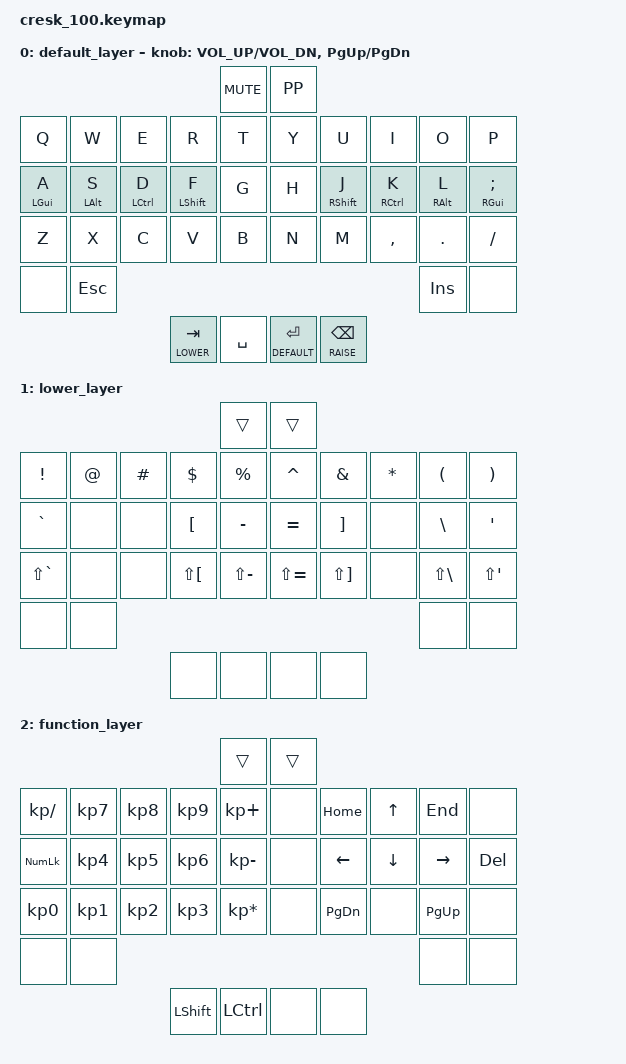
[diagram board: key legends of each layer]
/*
 * Copyright (c) 2022 The ZMK Contributors
 *
 * SPDX-License-Identifier: MIT
 */

#include <behaviors.dtsi>
#include <dt-bindings/zmk/keys.h>
#include <dt-bindings/zmk/mouse.h>

#define DEFAULT 0
#define LOWER   1
#define RAISE   2

&mt {
    tapping-term-ms = <200>;
	flavor = "tap-preferred";
};

&lt {
    tapping-term-ms = <200>;
};

/ {
	behaviors {
		mouse_scroll_encoder: mouse_scroll_encoder {
			compatible = "zmk,behavior-sensor-rotate";
			#sensor-binding-cells = <0>;
			bindings = <&msc MOVE_DOWN>, <&msc MOVE_UP>;
		};
	};

	keymap {
		compatible = "zmk,keymap";

		default_layer {
			bindings = <
                                        			   &kp C_MUTE    &kp K_PP
&kp Q        &kp W        &kp E         &kp R          &kp T         &kp Y        &kp U          &kp I         &kp O           &kp P
&mt LGUI A   &mt LALT S   &mt LCTRL D   &mt LSHIFT F   &kp G         &kp H        &mt RSHIFT J   &mt RCTRL K   &mt RALT L      &mt RGUI SEMI
&kp Z        &kp X        &kp C         &kp V          &kp B         &kp N        &kp M          &kp COMMA     &kp DOT         &kp FSLH
&none        &kp ESC                                                                                           &kp INS         &none
                                        &lt LOWER TAB  &kp SPACE     &lt DEFAULT ENTER  &lt RAISE BSPC
			>;

			sensor-bindings = <&inc_dec_kp C_VOL_UP C_VOL_DN &inc_dec_kp PG_UP PG_DN>;
		};

		lower_layer {
			bindings = <
                                                  &trans           &trans
&kp EXCL       &kp AT    &kp HASH   &kp DLLR      &kp PRCNT        &kp CARET      &kp AMPS      &kp STAR   &kp LPAR      &kp RPAR
&kp GRAVE      &none     &none      &kp LBKT      &kp MINUS        &kp EQUAL      &kp RBKT      &none      &kp BSLH      &kp SQT
&kp LS(GRAVE)  &none     &none      &kp LS(LBKT)  &kp LS(MINUS)    &kp LS(EQUAL)  &kp LS(RBKT)  &none      &kp LS(BSLH)  &kp LS(SQT)
               &none     &none                                                                  &none      &none
			                        &none         &none            &none          &none
			>;
		};

		function_layer {
			bindings = <
                                                &trans             &trans
&kp KP_SLASH  &kp KP_N7  &kp KP_N8  &kp KP_N9   &kp KP_PLUS        &none   &kp HOME    &kp UP     &kp END     &none
&kp KP_NUM    &kp KP_N4  &kp KP_N5  &kp KP_N6   &kp KP_MINUS       &none   &kp LEFT    &kp DOWN   &kp RIGHT   &kp DEL
&kp KP_N0     &kp KP_N1  &kp KP_N2  &kp KP_N3   &kp KP_MULTIPLY    &none   &kp PG_DN   &none      &kp PG_UP   &none
              &none      &none              									       &none      &none
		                            &kp LSHFT   &kp LCTRL          &none   &none
			>;
		};
	};
};
